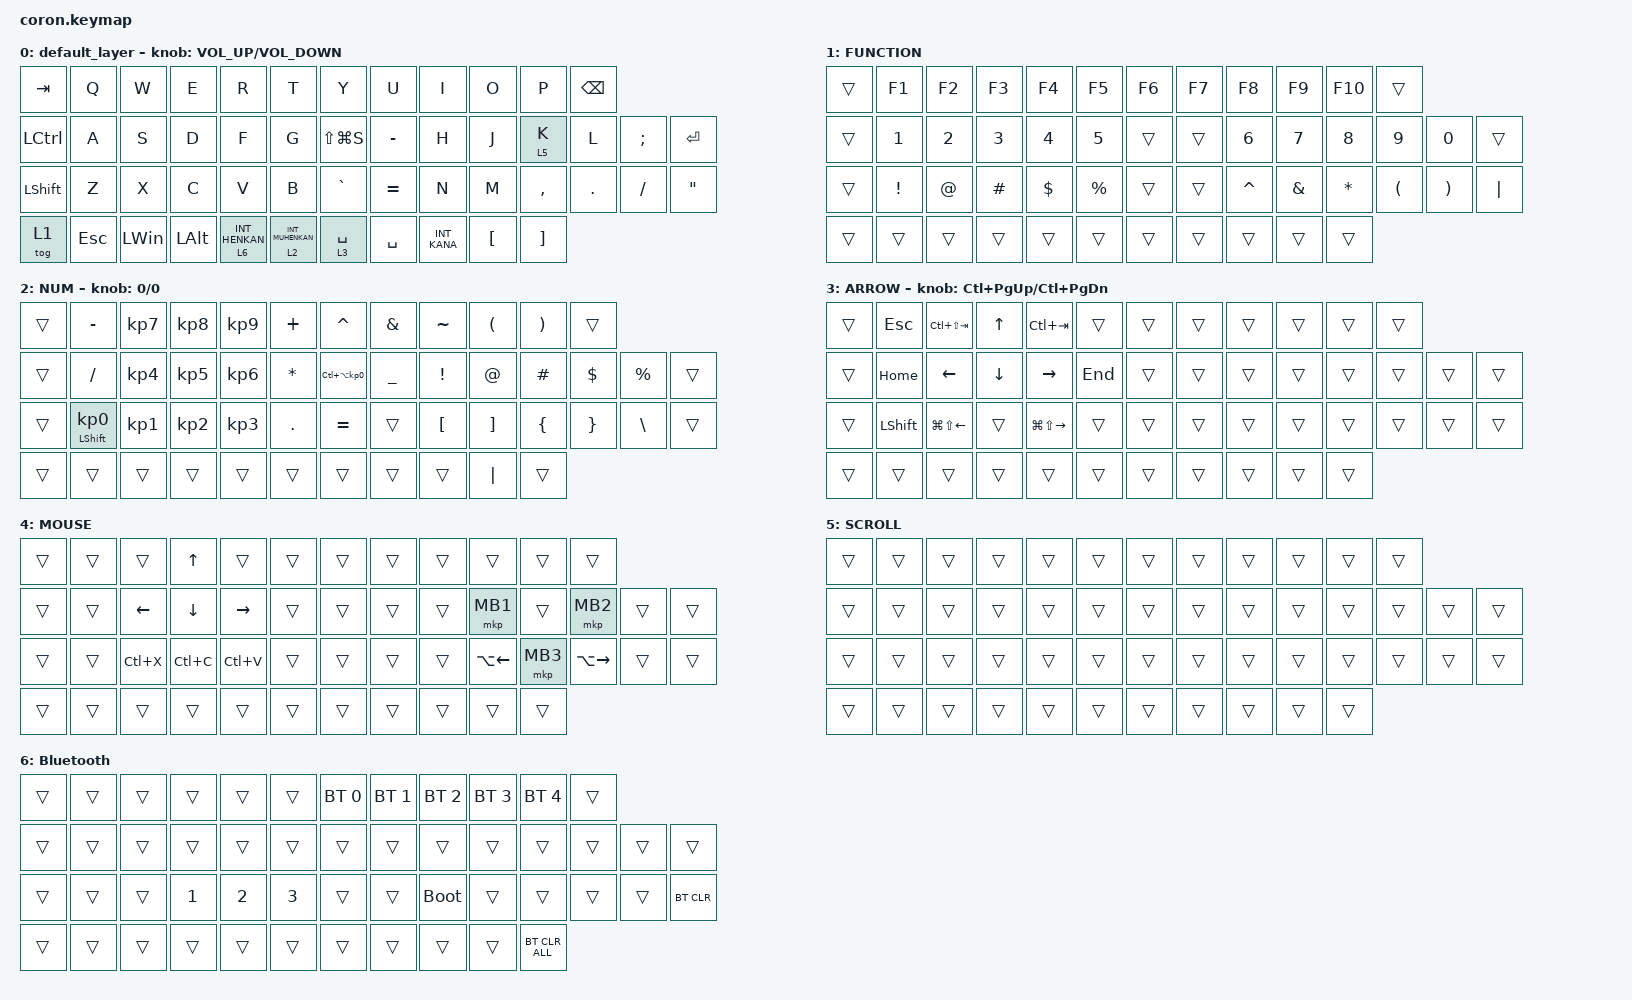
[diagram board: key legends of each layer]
/* coron.keymap */

#include <behaviors.dtsi>
#include <dt-bindings/zmk/bt.h>
#include <dt-bindings/zmk/keys.h>
#include <dt-bindings/zmk/pointing.h>

&mt {
    flavor = "balanced";
    quick-tap-ms = <0>;
};

&trackball {
    automouse-layer = <4>;
    scroll-layers = <5>;
};

/ {
    combos {
        compatible = "zmk,combos";

        /* Note: Key positions have shifted due to added columns. 
           You will need to recalculate these indices later. */

        tab {
            bindings = <&kp TAB>;
            key-positions = <11 12>;
        };

        shift_tab {
            bindings = <&kp LS(TAB)>;
            key-positions = <12 13>;
        };

        muhennkann {
            bindings = <&to_layer_0 INT_MUHENKAN>;
            key-positions = <11 10>;
        };

        double_quotation {
            bindings = <&kp DOUBLE_QUOTES>;
            key-positions = <20 21>;
        };

        eq {
            bindings = <&kp EQUAL>;
            key-positions = <24 25>;
        };
    };

    macros {
        to_layer_0: to_layer_0 {
            compatible = "zmk,behavior-macro-one-param";
            #binding-cells = <1>;
            bindings = <&to 0 &macro_param_1to1 &kp MACRO_PLACEHOLDER>;
            label = "TO_LAYER_0";
        };
    };

    behaviors {
        lt_to_layer_0: lt_to_layer_0 {
            compatible = "zmk,behavior-hold-tap";
            label = "LAYER_TAP_TO_0";
            bindings = <&mo>, <&to_layer_0>;

            #binding-cells = <2>;
            tapping-term-ms = <200>;
        };
    };

    keymap {
        compatible = "zmk,keymap";

        default_layer {
            bindings = <
&kp TAB           &kp Q    &kp W         &kp E         &kp R                        &kp T               &kp Y                   &kp U      &kp I         &kp O             &kp P              &kp BACKSPACE
&kp LEFT_CONTROL  &kp A    &kp S         &kp D         &kp F                        &kp G               &kp LS(LG(S))           &kp MINUS  &kp H         &kp J             &lt 5 K            &kp L          &kp SEMICOLON  &kp ENTER
&kp LEFT_SHIFT    &kp Z    &kp X         &kp C         &kp V                        &kp B               &kp GRAVE               &kp EQUAL  &kp N         &kp M             &kp COMMA          &kp DOT        &kp SLASH      &kp DOUBLE_QUOTES
&tog 1            &kp ESC  &kp LEFT_WIN  &kp LEFT_ALT  &lt_to_layer_0 6 INT_HENKAN  &lt 2 INT_MUHENKAN  &lt_to_layer_0 3 SPACE  &kp SPACE  &kp INT_KANA  &kp LEFT_BRACKET  &kp RIGHT_BRACKET
            >;

            sensor-bindings = <&inc_dec_kp C_VOLUME_UP K_VOLUME_DOWN>;
        };

        FUNCTION {
            bindings = <
&trans  &kp F1           &kp F2        &kp F3        &kp F4        &kp F5       &kp F6  &kp F7  &kp F8        &kp F9         &kp F10       &trans
&trans  &kp NUMBER_1     &kp NUMBER_2  &kp NUMBER_3  &kp NUMBER_4  &kp N5       &trans  &trans  &kp NUMBER_6  &kp N7         &kp N8        &kp N9                &kp N0                 &trans
&trans  &kp EXCLAMATION  &kp AT_SIGN   &kp HASH      &kp DOLLAR    &kp PERCENT  &trans  &trans  &kp CARET     &kp AMPERSAND  &kp ASTERISK  &kp LEFT_PARENTHESIS  &kp RIGHT_PARENTHESIS  &kp PIPE
&trans  &trans           &trans        &trans        &trans        &trans       &trans  &trans  &trans        &trans         &trans
            >;
        };

        NUM {
            bindings = <
&trans  &kp MINUS                   &kp KP_NUMBER_7  &kp KP_NUMBER_8  &kp KP_NUMBER_9  &kp PLUS      &kp CARET                &kp AMPERSAND   &kp TILDE         &kp LEFT_PARENTHESIS  &kp RIGHT_PARENTHESIS  &trans
&trans  &kp SLASH                   &kp KP_NUMBER_4  &kp KP_NUMBER_5  &kp KP_NUMBER_6  &kp ASTERISK  &kp LC(LA(KP_NUMBER_0))  &kp UNDERSCORE  &kp EXCLAMATION   &kp AT_SIGN           &kp HASH               &kp DOLLAR       &kp PERCENT    &trans
&trans  &mt LEFT_SHIFT KP_NUMBER_0  &kp KP_NUMBER_1  &kp KP_NUMBER_2  &kp KP_NUMBER_3  &kp PERIOD    &kp EQUAL                &trans          &kp LEFT_BRACKET  &kp RIGHT_BRACKET     &kp LEFT_BRACE         &kp RIGHT_BRACE  &kp BACKSLASH  &trans
&trans  &trans                      &trans           &trans           &trans           &trans        &trans                   &trans          &trans            &kp PIPE              &trans
            >;

            sensor-bindings = <&inc_dec_kp 0 0>;
        };

        ARROW {
            bindings = <
&trans  &kp ESCAPE      &kp LC(LS(TAB))         &kp UP_ARROW    &kp LC(TAB)              &trans   &trans  &trans  &trans  &trans  &trans  &trans
&trans  &kp HOME        &kp LEFT_ARROW          &kp DOWN_ARROW  &kp RIGHT_ARROW          &kp END  &trans  &trans  &trans  &trans  &trans  &trans  &trans  &trans
&trans  &kp LEFT_SHIFT  &kp LG(LS(LEFT_ARROW))  &trans          &kp LG(LS(RIGHT_ARROW))  &trans   &trans  &trans  &trans  &trans  &trans  &trans  &trans  &trans
&trans  &trans          &trans                  &trans          &trans                   &trans   &trans  &trans  &trans  &trans  &trans
            >;

            sensor-bindings = <&inc_dec_kp LC(PAGE_UP) LC(PAGE_DOWN)>;
        };

        MOUSE {
            bindings = <
&trans  &trans  &trans     &kp UP_ARROW  &trans     &trans  &trans  &trans  &trans  &trans        &trans    &trans
&trans  &trans  &kp LEFT   &kp DOWN      &kp RIGHT  &trans  &trans  &trans  &trans  &mkp MB1      &trans    &mkp MB2       &trans  &trans
&trans  &trans  &kp LC(X)  &kp LC(C)     &kp LC(V)  &trans  &trans  &trans  &trans  &kp LA(LEFT)  &mkp MB3  &kp LA(RIGHT)  &trans  &trans
&trans  &trans  &trans     &trans        &trans     &trans  &trans  &trans  &trans  &trans        &trans
            >;
        };

        SCROLL {
            bindings = <
&trans  &trans  &trans  &trans  &trans  &trans  &trans  &trans  &trans  &trans  &trans  &trans
&trans  &trans  &trans  &trans  &trans  &trans  &trans  &trans  &trans  &trans  &trans  &trans  &trans  &trans
&trans  &trans  &trans  &trans  &trans  &trans  &trans  &trans  &trans  &trans  &trans  &trans  &trans  &trans
&trans  &trans  &trans  &trans  &trans  &trans  &trans  &trans  &trans  &trans  &trans
            >;
        };

        Bluetooth {
            bindings = <
&trans  &trans  &trans  &trans        &trans        &trans        &bt BT_SEL 0  &bt BT_SEL 1  &bt BT_SEL 2  &bt BT_SEL 3  &bt BT_SEL 4    &trans
&trans  &trans  &trans  &trans        &trans        &trans        &trans        &trans        &trans        &trans        &trans          &trans  &trans  &trans
&trans  &trans  &trans  &kp NUMBER_1  &kp NUMBER_2  &kp NUMBER_3  &trans        &trans        &bootloader   &trans        &trans          &trans  &trans  &bt BT_CLR
&trans  &trans  &trans  &trans        &trans        &trans        &trans        &trans        &trans        &trans        &bt BT_CLR_ALL
            >;
        };
    };
};
